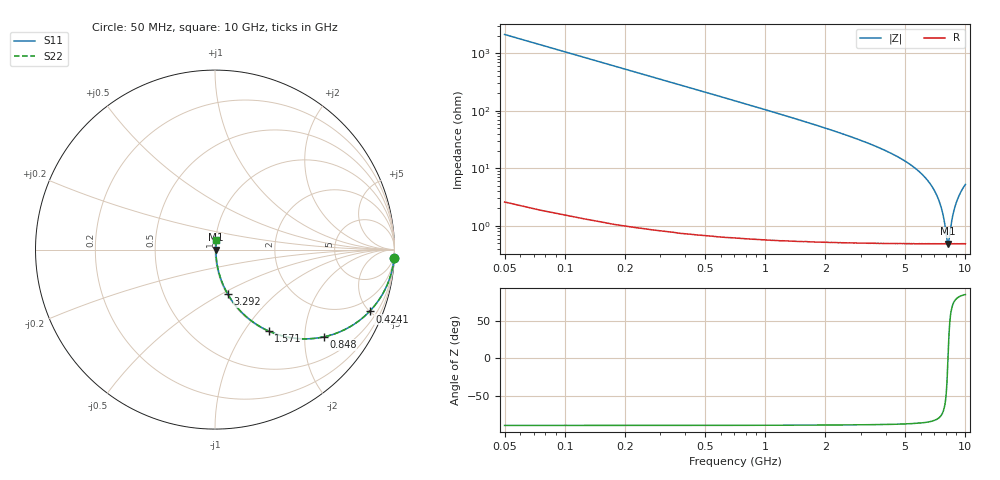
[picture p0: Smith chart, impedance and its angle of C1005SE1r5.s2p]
!	AVX	Thin	Film	Operation
!	Date:	March 2012
!	Description: Ultra-Miniature 01005 Size ACCU - P® Thin Film RF / Microwave Capacitor
!	Part Number:  C005YK1R5ABSTR
!	Serial	Measurements
#	MHz	S	db	R	50
!	S11	S21	S12	S22
!	dB	Phase	dB	Phase	dB	Phase	dB	Phase
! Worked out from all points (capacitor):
!   400 points, 50 MHz to 10 GHz, reference 50 ohm
!   read as one part in series: C = 1.5 pF near 99.88 MHz
!   lowest |Z| = 486 mohm at 8.18 GHz (marker M1)
!   series resonance near 8.186 GHz, so ESL is about 250 pH
!   S11 on the Smith chart (normalised r, x): 50 MHz: 1, -42; 424.1 MHz: 1.01, -4.99; 848 MHz: 1.01, -2.48; 1.571 GHz: 1.01, -1.30; 3.292 GHz: 1.01, -0.54; 10 GHz: 1.01, +0.10
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50  -0.01 -2.7  -26.55 87.2  -26.55 87.2  -0.01 -2.7
99.875  -0.04 -5.4  -20.56 84.5  -20.56 84.5  -0.04 -5.4
174.687  -0.12 -9.4  -15.78 80.5  -15.78 80.5  -0.12 -9.4
274.436  -0.29 -14.5  -12.02 75.4  -12.02 75.4  -0.29 -14.5
424.06  -0.66 -21.8  -8.60 68.0  -8.60 68.0  -0.66 -21.8
847.995  -2.20 -38.8  -4.05 50.9  -4.05 50.9  -2.20 -38.8
1571.178  -5.30 -56.6  -1.56 32.9  -1.56 32.9  -5.30 -56.6
1720.802  -5.92 -59.1  -1.33 30.4  -1.33 30.4  -5.92 -59.1
2394.11  -8.54 -67.3  -0.70 22.0  -0.70 22.0  -8.54 -67.3
3291.855  -11.71 -73.9  -0.35 15.0  -0.35 15.0  -11.71 -73.9
3366.667  -11.97 -74.3  -0.33 14.6  -0.33 14.6  -11.97 -74.3
5037.469  -17.77 -80.4  -0.12 7.4  -0.12 7.4  -17.77 -80.4
6708.271  -25.70 -81.7  -0.05 3.0  -0.05 3.0  -25.70 -81.7
7207.018  -29.55 -79.8  -0.05 1.9  -0.05 1.9  -29.55 -79.8
7581.078  -33.81 -75.2  -0.04 1.1  -0.04 1.1  -33.81 -75.2
7830.451  -38.10 -66.5  -0.04 0.7  -0.04 0.7  -38.10 -66.5
8179.574  -46.30 -2.4  -0.04 0.0  -0.04 0.0  -46.30 -2.4
8354.135  -42.93 47.0  -0.04 -0.3  -0.04 -0.3  -42.93 47.0
8603.509  -37.26 68.6  -0.04 -0.7  -0.04 -0.7  -37.26 68.6
8952.632  -32.53 76.9  -0.04 -1.3  -0.04 -1.3  -32.53 76.9
9401.504  -28.84 80.3  -0.05 -2.1  -0.05 -2.1  -28.84 80.3
10000  -25.66 81.7  -0.05 -3.0  -0.05 -3.0  -25.66 81.7
